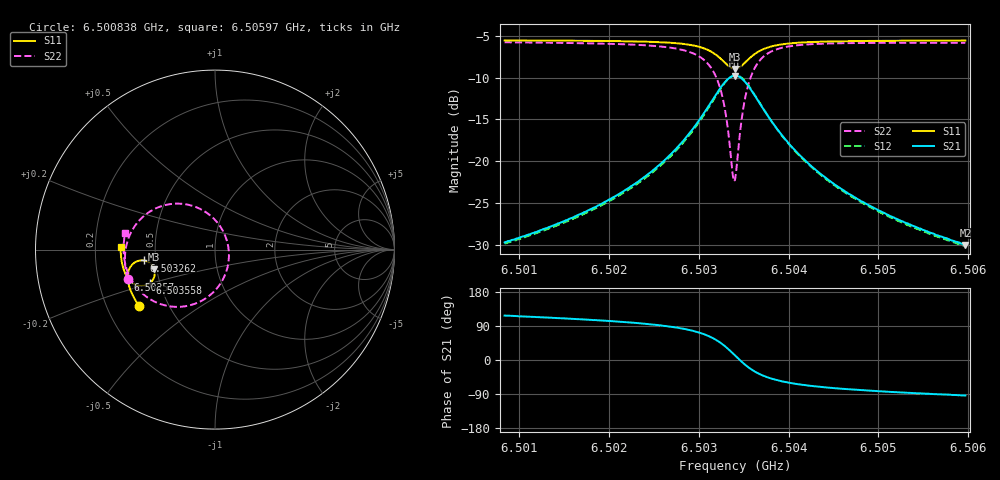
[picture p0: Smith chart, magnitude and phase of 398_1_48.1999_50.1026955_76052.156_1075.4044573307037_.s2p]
#  HZ  S  RI  R  50.00
! Rohde & Schwarz Vector Network Analyzer
! Rohde-Schwarz,ZNB20-2Port,1311601062101988,3.16
! Created: UTC 3/20/2024, 11:53:54 AM
! freq[Hz]  re:S11  im:S11  re:S21  im:S21  re:S12  im:S12  re:S22  im:S22
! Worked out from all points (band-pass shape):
!   401 points, 6.500838 GHz to 6.50597 GHz, reference 50 ohm
!   highest |S21| = -9.78 dB at 6.503404 GHz (marker M1); lowest = -30.0 dB at 6.50597 GHz (marker M2)
!   |S21| within 3 dB of the highest: 6.503147 GHz to 6.503661 GHz (513.9 kHz wide, 0.0079 % of centre)
!   lowest |S11| = -9.0 dB at 6.503404 GHz (marker M3), VSWR 2.11, Z = 24.2 - j6.05 ohm
!   |S11| at or under -10 dB: nowhere
!   |S22| runs from -22.4 to -5.8 dB; largest |S21 - S12| = 0.011
!   S11 on the Smith chart (normalised r, x): 6.500838 GHz: 0.34, -0.30; 6.50257 GHz: 0.33, -0.15; 6.503262 GHz: 0.43, -0.06; 6.503558 GHz: 0.44, -0.20; 6.50597 GHz: 0.31, +0.01
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6.5008376e9  -0.4211 -0.3161  -0.015 0.0292  -0.0134 0.0294  -0.4863 -0.1647
6.5016972e9  -0.4587 -0.2535  -0.0146 0.0466  -0.0122 0.0463  -0.5013 -0.075
6.5021334e9  -0.4745 -0.2158  -0.0122 0.0636  -0.00919 0.0627  -0.5002 -0.0154
6.5025568e9  -0.4854 -0.1704  -0.00309 0.0946  0.000421 0.0925  -0.4812 0.0658
6.5025696e9  -0.4857 -0.1686  -0.00248 0.0961  0.00108 0.0936  -0.48 0.069
6.5028134e9  -0.4851 -0.1336  0.0156 0.129  0.0193 0.1252  -0.4418 0.1384
6.502993e9  -0.4737 -0.1004  0.0498 0.165  0.0531 0.1597  -0.3742 0.2043
6.5031598e9  -0.4392 -0.0673  0.1267 0.1982  0.1281 0.1919  -0.2331 0.2551
6.5032624e9  -0.3969 -0.0603  0.2116 0.1896  0.2117 0.1844  -0.0858 0.2282
6.5033137e9  -0.3715 -0.0687  0.2596 0.1621  0.2603 0.1577  -0.00584 0.1717
6.5033779e9  -0.345 -0.0948  0.3071 0.0995  0.3095 0.0947  0.0658 0.051
6.5034036e9  -0.3387 -0.1092  0.3172 0.0678  0.3204 0.0621  0.077 -0.00808
6.5034292e9  -0.3355 -0.1246  0.3211 0.0345  0.3244 0.028  0.0754 -0.0686
6.5034934e9  -0.3424 -0.1612  0.3037 -0.0425  0.3057 -0.0521  0.0215 -0.2022
6.5035575e9  -0.3633 -0.1869  0.2617 -0.0964  0.2606 -0.1072  -0.0733 -0.2844
6.5036601e9  -0.4023 -0.2021  0.188 -0.1323  0.1828 -0.1415  -0.2213 -0.3188
6.5038269e9  -0.4481 -0.1924  0.1075 -0.1296  0.1006 -0.1345  -0.3668 -0.2734
6.5040065e9  -0.4752 -0.1711  0.0634 -0.1101  0.0573 -0.1123  -0.438 -0.2092
6.5042631e9  -0.4959 -0.1411  0.0336 -0.0862  0.029 -0.0868  -0.4812 -0.1378
6.5046352e9  -0.5111 -0.1027  0.0153 -0.0639  0.012 -0.0637  -0.5033 -0.0656
6.5051227e9  -0.5211 -0.058  0.00501 -0.0471  0.00284 -0.0465  -0.5098 0.00229
6.5059695e9  -0.5258 0.0133  -0.00203 -0.0316  -0.00326 -0.031  -0.5018 0.0907
